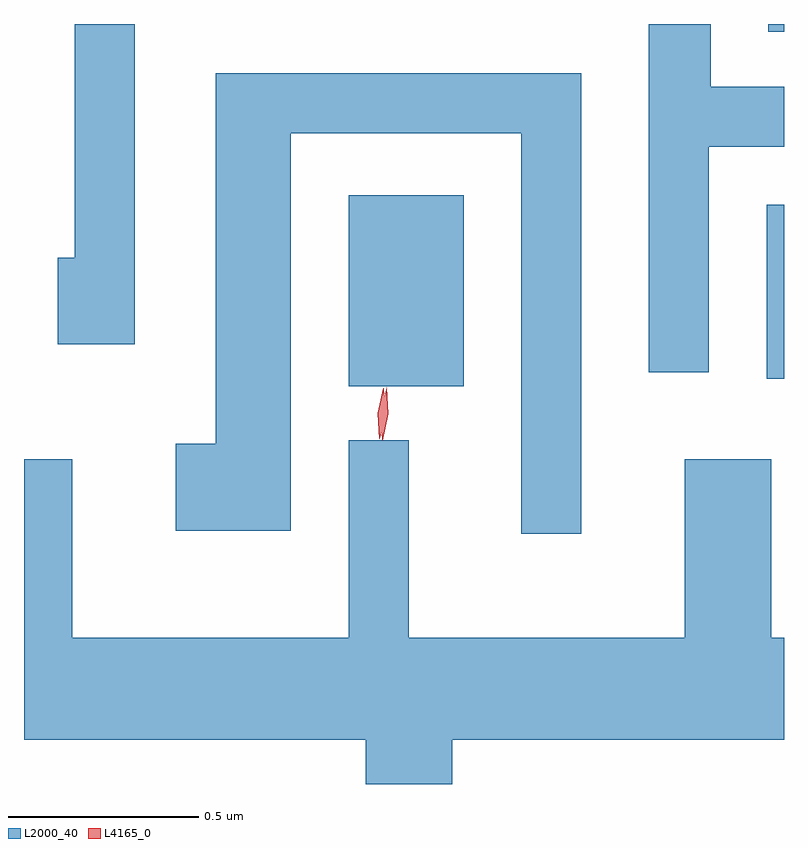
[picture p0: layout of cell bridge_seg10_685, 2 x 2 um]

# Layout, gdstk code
import gdstk
lib = gdstk.Library(unit=1e-6, precision=1e-09)
def R(c, l, rs):  # rectangles x0, y0, x1, y1
    for r in rs: c.add(gdstk.rectangle(r[:2], r[2:], *l))
def P(c, l, *ps):  # polygons
    for p in ps: c.add(gdstk.Polygon(p, *l))
L2000_40 = (2000, 40)
L4165_0 = (4165, 0)

bridge_seg10_685 = lib.new_cell('bridge_seg10_685')
R(bridge_seg10_685, L2000_40, [(882.386,2143.706,882.689,2144.209), (883.486,2143.726,883.532,2144.184), (883.491,2144.638,883.532,2144.659)])
P(bridge_seg10_685, L2000_40, [(881.824,2144.659),(881.666,2144.659),(881.666,2144.044),(881.621,2144.044),(881.621,2143.816),(881.824,2143.816)],
  [(883.334,2144.336),(883.532,2144.336),(883.532,2144.494),(883.339,2144.494),(883.339,2144.659),(883.176,2144.659),(883.176,2143.743),(883.334,2143.743)],
  [(882.999,2144.529),(882.036,2144.529),(882.036,2143.554),(881.931,2143.554),(881.931,2143.326),(882.234,2143.326),(882.234,2144.371),(882.841,2144.371),(882.841,2143.318),(882.999,2143.318)],
  [(882.659,2142.776),(883.532,2142.776),(883.532,2143.044),(883.499,2143.044),(883.499,2143.514),(883.271,2143.514),(883.271,2143.044),(882.544,2143.044),(882.544,2143.563),(882.386,2143.563),(882.386,2143.044),(881.659,2143.044),(881.659,2143.514),(881.532,2143.514),(881.532,2142.776),(882.431,2142.776),(882.431,2142.659),(882.659,2142.659)])
P(bridge_seg10_685, L4165_0, [(882.475,2143.564),(882.475,2143.564),(882.471,2143.634),(882.486,2143.702),(882.487,2143.703),(882.487,2143.702),(882.491,2143.633),(882.476,2143.564)],
  [(882.467,2143.568),(882.467,2143.568),(882.463,2143.635),(882.478,2143.7),(882.479,2143.7),(882.479,2143.7),(882.483,2143.633),(882.468,2143.568)])

lib.write_gds('bridge_seg10_685.gds')
